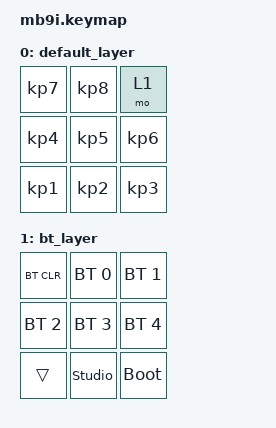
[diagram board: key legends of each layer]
#include <behaviors.dtsi>
#include <dt-bindings/zmk/keys.h>
#include <dt-bindings/zmk/bt.h>

/ {
    keymap {
        compatible = "zmk,keymap";

        default_layer {
            bindings = <
                &kp KP_N7 &kp KP_N8 &mo 1
                &kp KP_N4 &kp KP_N5 &kp KP_N6
                &kp KP_N1 &kp KP_N2 &kp KP_N3
            >;
        };

        bt_layer {
            bindings = <
                &bt BT_CLR &bt BT_SEL 0 &bt BT_SEL 1
                &bt BT_SEL 2 &bt BT_SEL 3 &bt BT_SEL 4
                &trans &studio_unlock &bootloader
            >;
        };

        extra1 {
            status = "reserved";
        };

        extra2 {
            status = "reserved";    
        };

        extra3 {
            status = "reserved";    
        };
    };
};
